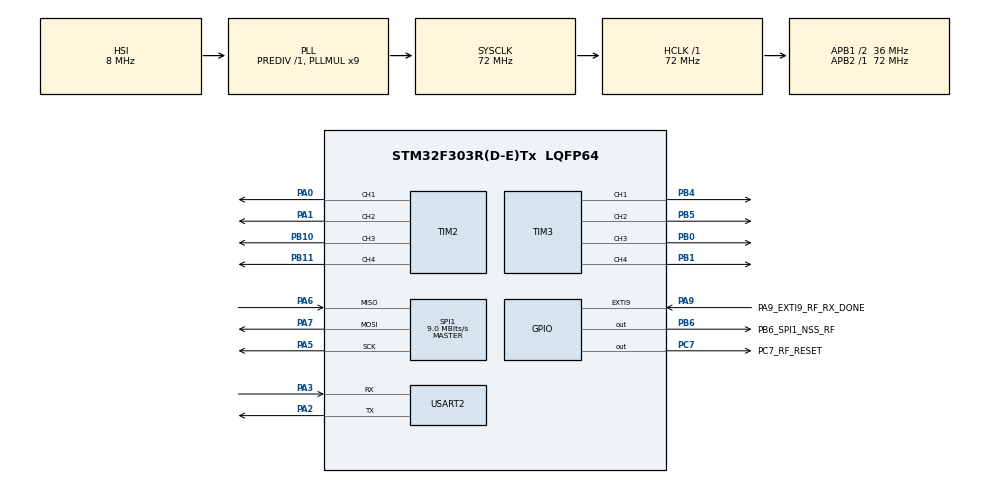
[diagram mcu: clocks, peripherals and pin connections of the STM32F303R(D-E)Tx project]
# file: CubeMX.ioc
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Mcu.Family=STM32F3
Mcu.Name=STM32F303R(D-E)Tx
Mcu.Package=LQFP64
NVIC.PriorityGroup=NVIC_PRIORITYGROUP_4
PA0.Signal=S_TIM2_CH1_ETR
PA1.Signal=S_TIM2_CH2
PA2.Mode=Asynchronous
PA2.Signal=USART2_TX
PA3.Mode=Asynchronous
PA3.Signal=USART2_RX
PA5.Mode=Full_Duplex_Master
PA5.Signal=SPI1_SCK
PA6.Mode=Full_Duplex_Master
PA6.Signal=SPI1_MISO
PA7.Mode=Full_Duplex_Master
PA7.Signal=SPI1_MOSI
PA9.GPIO_Label=PA9_EXTI9_RF_RX_DONE
PA9.Signal=GPXTI9
PB0.Signal=S_TIM3_CH3
PB1.Signal=S_TIM3_CH4
PB10.Signal=S_TIM2_CH3
PB11.Signal=S_TIM2_CH4
PB4.Signal=S_TIM3_CH1
PB5.Signal=S_TIM3_CH2
PB6.GPIO_Label=PB6_SPI1_NSS_RF
PB6.Signal=GPIO_Output
PC7.GPIO_Label=PC7_RF_RESET
PC7.Signal=GPIO_Output
ProjectManager.HeapSize=0x200
ProjectManager.StackSize=0x400
ProjectManager.TargetToolchain=STM32CubeIDE
RCC.AHBFreq_Value=72000000
RCC.APB1CLKDivider=RCC_HCLK_DIV2
RCC.APB1Freq_Value=36000000
RCC.APB1TimFreq_Value=72000000
RCC.APB2Freq_Value=72000000
RCC.APB2TimFreq_Value=72000000
RCC.CortexFreq_Value=72000000
RCC.HCLKFreq_Value=72000000
RCC.HSE_VALUE=8000000
RCC.HSI_VALUE=8000000
RCC.LSE_VALUE=32768
RCC.PLLMUL=RCC_PLL_MUL9
RCC.SYSCLKFreq_VALUE=72000000
RCC.SYSCLKSourceVirtual=RCC_SYSCLKSOURCE_PLLCLK
RCC.USBFreq_Value=72000000
SH.S_TIM2_CH1_ETR.0=TIM2_CH1,PWM Generation1 CH1
SH.S_TIM2_CH2.0=TIM2_CH2,PWM Generation2 CH2
SH.S_TIM2_CH3.0=TIM2_CH3,PWM Generation3 CH3
SH.S_TIM2_CH4.0=TIM2_CH4,PWM Generation4 CH4
SH.S_TIM3_CH1.0=TIM3_CH1,PWM Generation1 CH1
SH.S_TIM3_CH2.0=TIM3_CH2,PWM Generation2 CH2
SH.S_TIM3_CH3.0=TIM3_CH3,PWM Generation3 CH3
SH.S_TIM3_CH4.0=TIM3_CH4,PWM Generation4 CH4
SPI1.BaudRatePrescaler=SPI_BAUDRATEPRESCALER_8
SPI1.CalculateBaudRate=9.0 MBits/s
SPI1.DataSize=SPI_DATASIZE_8BIT
SPI1.Direction=SPI_DIRECTION_2LINES
SPI1.Mode=SPI_MODE_MASTER
SPI1.VirtualType=VM_MASTER
TIM2.Channel-PWM\ Generation1\ CH1=TIM_CHANNEL_1
TIM2.Channel-PWM\ Generation2\ CH2=TIM_CHANNEL_2
TIM2.Channel-PWM\ Generation3\ CH3=TIM_CHANNEL_3
TIM2.Channel-PWM\ Generation4\ CH4=TIM_CHANNEL_4
TIM3.Channel-PWM\ Generation1\ CH1=TIM_CHANNEL_1
TIM3.Channel-PWM\ Generation2\ CH2=TIM_CHANNEL_2
TIM3.Channel-PWM\ Generation3\ CH3=TIM_CHANNEL_3
TIM3.Channel-PWM\ Generation4\ CH4=TIM_CHANNEL_4
USART2.VirtualMode-Asynchronous=VM_ASYNC
VP_TIM2_VS_ClockSourceINT.Mode=Internal
VP_TIM3_VS_ClockSourceINT.Mode=Internal
board=custom

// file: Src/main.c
/* USER CODE BEGIN Header */
/**
  ******************************************************************************
  * @file           : main.c
  * @brief          : Main program body
  ******************************************************************************
  * @attention
  *
  * <h2><center>&copy; Copyright (c) 2019 STMicroelectronics.
  * All rights reserved.</center></h2>
  *
  * This software component is licensed by ST under BSD 3-Clause license,
  * the "License"; You may not use this file except in compliance with the
  * License. You may obtain a copy of the License at:
  *                        opensource.org/licenses/BSD-3-Clause
  *
  ******************************************************************************
  */
/* USER CODE END Header */
#include "main.h"

 SPI_HandleTypeDef hspi1;

TIM_HandleTypeDef htim2;
TIM_HandleTypeDef htim3;

UART_HandleTypeDef huart2;

void SystemClock_Config(void);
static void MX_GPIO_Init(void);
static void MX_TIM2_Init(void);
static void MX_TIM3_Init(void);
static void MX_USART2_UART_Init(void);
static void MX_SPI1_Init(void);

int main(void)
{

  /* MCU Configuration--------------------------------------------------------*/

  /* Reset of all peripherals, Initializes the Flash interface and the Systick. */
  HAL_Init();

  /* Configure the system clock */
  SystemClock_Config();

  /* Initialize all configured peripherals */
  MX_GPIO_Init();
  MX_TIM2_Init();
  MX_TIM3_Init();
  MX_USART2_UART_Init();
  MX_SPI1_Init();
  /* USER CODE BEGIN 2 */

  char *msg = "Fablab AUDO!\n\r";

  HAL_UART_Transmit(&huart2, (uint8_t*)msg, strlen(msg), 0xFFFF);

  char buffer[100];

  comm_init();
  pwm_init();
  systick_init();

  HAL_SYSTICK_CLKSourceConfig(SYSTICK_CLKSOURCE_HCLK);
  HAL_SYSTICK_Config(HAL_RCC_GetHCLKFreq()/1000);
  HAL_NVIC_SetPriority(SysTick_IRQn, 8, 0);

  /* USER CODE END 2 */

  /* Infinite loop */
  while (1)
  {

  }
}

void SystemClock_Config(void)
{
  RCC_OscInitTypeDef RCC_OscInitStruct = {0};
  RCC_ClkInitTypeDef RCC_ClkInitStruct = {0};
  RCC_PeriphCLKInitTypeDef PeriphClkInit = {0};

  /** Initializes the RCC Oscillators according to the specified parameters
  * in the RCC_OscInitTypeDef structure.
  */
  RCC_OscInitStruct.OscillatorType = RCC_OSCILLATORTYPE_HSI;
  RCC_OscInitStruct.HSIState = RCC_HSI_ON;
  RCC_OscInitStruct.HSICalibrationValue = RCC_HSICALIBRATION_DEFAULT;
  RCC_OscInitStruct.PLL.PLLState = RCC_PLL_ON;
  RCC_OscInitStruct.PLL.PLLSource = RCC_PLLSOURCE_HSI;
  RCC_OscInitStruct.PLL.PLLMUL = RCC_PLL_MUL9;
  RCC_OscInitStruct.PLL.PREDIV = RCC_PREDIV_DIV1;
  if (HAL_RCC_OscConfig(&RCC_OscInitStruct) != HAL_OK)
  {
    Error_Handler();
  }

  /** Initializes the CPU, AHB and APB buses clocks
  */
  RCC_ClkInitStruct.ClockType = RCC_CLOCKTYPE_HCLK|RCC_CLOCKTYPE_SYSCLK
                              |RCC_CLOCKTYPE_PCLK1|RCC_CLOCKTYPE_PCLK2;
  RCC_ClkInitStruct.SYSCLKSource = RCC_SYSCLKSOURCE_PLLCLK;
  RCC_ClkInitStruct.AHBCLKDivider = RCC_SYSCLK_DIV1;
  RCC_ClkInitStruct.APB1CLKDivider = RCC_HCLK_DIV2;
  RCC_ClkInitStruct.APB2CLKDivider = RCC_HCLK_DIV1;

  if (HAL_RCC_ClockConfig(&RCC_ClkInitStruct, FLASH_LATENCY_2) != HAL_OK)
  {
    Error_Handler();
  }
  PeriphClkInit.PeriphClockSelection = RCC_PERIPHCLK_USART2|RCC_PERIPHCLK_TIM2
                              |RCC_PERIPHCLK_TIM34;
  PeriphClkInit.Usart2ClockSelection = RCC_USART2CLKSOURCE_PCLK1;
  PeriphClkInit.Tim2ClockSelection = RCC_TIM2CLK_HCLK;
  PeriphClkInit.Tim34ClockSelection = RCC_TIM34CLK_HCLK;
  if (HAL_RCCEx_PeriphCLKConfig(&PeriphClkInit) != HAL_OK)
  {
    Error_Handler();
  }
}

static void MX_SPI1_Init(void)
{

  /* SPI1 parameter configuration*/
  hspi1.Instance = SPI1;
  hspi1.Init.Mode = SPI_MODE_MASTER;
  hspi1.Init.Direction = SPI_DIRECTION_2LINES;
  hspi1.Init.DataSize = SPI_DATASIZE_8BIT;
  hspi1.Init.CLKPolarity = SPI_POLARITY_LOW;
  hspi1.Init.CLKPhase = SPI_PHASE_1EDGE;
  hspi1.Init.NSS = SPI_NSS_SOFT;
  hspi1.Init.BaudRatePrescaler = SPI_BAUDRATEPRESCALER_8;
  hspi1.Init.FirstBit = SPI_FIRSTBIT_MSB;
  hspi1.Init.TIMode = SPI_TIMODE_DISABLE;
  hspi1.Init.CRCCalculation = SPI_CRCCALCULATION_DISABLE;
  hspi1.Init.CRCPolynomial = 7;
  hspi1.Init.CRCLength = SPI_CRC_LENGTH_DATASIZE;
  hspi1.Init.NSSPMode = SPI_NSS_PULSE_ENABLE;
  if (HAL_SPI_Init(&hspi1) != HAL_OK)
  {
    Error_Handler();
  }

}

static void MX_TIM2_Init(void)
{

  TIM_ClockConfigTypeDef sClockSourceConfig = {0};
  TIM_MasterConfigTypeDef sMasterConfig = {0};
  TIM_OC_InitTypeDef sConfigOC = {0};

  htim2.Instance = TIM2;
  htim2.Init.Prescaler = 0;
  htim2.Init.CounterMode = TIM_COUNTERMODE_UP;
  htim2.Init.Period = 4294967295;
  htim2.Init.ClockDivision = TIM_CLOCKDIVISION_DIV1;
  htim2.Init.AutoReloadPreload = TIM_AUTORELOAD_PRELOAD_DISABLE;
  if (HAL_TIM_Base_Init(&htim2) != HAL_OK)
  {
    Error_Handler();
  }
  sClockSourceConfig.ClockSource = TIM_CLOCKSOURCE_INTERNAL;
  if (HAL_TIM_ConfigClockSource(&htim2, &sClockSourceConfig) != HAL_OK)
  {
    Error_Handler();
  }
  if (HAL_TIM_PWM_Init(&htim2) != HAL_OK)
  {
    Error_Handler();
  }
  sMasterConfig.MasterOutputTrigger = TIM_TRGO_RESET;
  sMasterConfig.MasterSlaveMode = TIM_MASTERSLAVEMODE_DISABLE;
  if (HAL_TIMEx_MasterConfigSynchronization(&htim2, &sMasterConfig) != HAL_OK)
  {
    Error_Handler();
  }
  sConfigOC.OCMode = TIM_OCMODE_PWM1;
  sConfigOC.Pulse = 0;
  sConfigOC.OCPolarity = TIM_OCPOLARITY_HIGH;
  sConfigOC.OCFastMode = TIM_OCFAST_DISABLE;
  if (HAL_TIM_PWM_ConfigChannel(&htim2, &sConfigOC, TIM_CHANNEL_1) != HAL_OK)
  {
    Error_Handler();
  }
  if (HAL_TIM_PWM_ConfigChannel(&htim2, &sConfigOC, TIM_CHANNEL_2) != HAL_OK)
  {
    Error_Handler();
  }
  if (HAL_TIM_PWM_ConfigChannel(&htim2, &sConfigOC, TIM_CHANNEL_3) != HAL_OK)
  {
    Error_Handler();
  }
  if (HAL_TIM_PWM_ConfigChannel(&htim2, &sConfigOC, TIM_CHANNEL_4) != HAL_OK)
  {
    Error_Handler();
  }
  HAL_TIM_MspPostInit(&htim2);

}

static void MX_TIM3_Init(void)
{

  TIM_ClockConfigTypeDef sClockSourceConfig = {0};
  TIM_MasterConfigTypeDef sMasterConfig = {0};
  TIM_OC_InitTypeDef sConfigOC = {0};

  htim3.Instance = TIM3;
  htim3.Init.Prescaler = 0;
  htim3.Init.CounterMode = TIM_COUNTERMODE_UP;
  htim3.Init.Period = 65535;
  htim3.Init.ClockDivision = TIM_CLOCKDIVISION_DIV1;
  htim3.Init.AutoReloadPreload = TIM_AUTORELOAD_PRELOAD_DISABLE;
  if (HAL_TIM_Base_Init(&htim3) != HAL_OK)
  {
    Error_Handler();
  }
  sClockSourceConfig.ClockSource = TIM_CLOCKSOURCE_INTERNAL;
  if (HAL_TIM_ConfigClockSource(&htim3, &sClockSourceConfig) != HAL_OK)
  {
    Error_Handler();
  }
  if (HAL_TIM_PWM_Init(&htim3) != HAL_OK)
  {
    Error_Handler();
  }
  sMasterConfig.MasterOutputTrigger = TIM_TRGO_RESET;
  sMasterConfig.MasterSlaveMode = TIM_MASTERSLAVEMODE_DISABLE;
  if (HAL_TIMEx_MasterConfigSynchronization(&htim3, &sMasterConfig) != HAL_OK)
  {
    Error_Handler();
  }
  sConfigOC.OCMode = TIM_OCMODE_PWM1;
  sConfigOC.Pulse = 0;
  sConfigOC.OCPolarity = TIM_OCPOLARITY_HIGH;
  sConfigOC.OCFastMode = TIM_OCFAST_DISABLE;
  if (HAL_TIM_PWM_ConfigChannel(&htim3, &sConfigOC, TIM_CHANNEL_1) != HAL_OK)
  {
    Error_Handler();
  }
  if (HAL_TIM_PWM_ConfigChannel(&htim3, &sConfigOC, TIM_CHANNEL_2) != HAL_OK)
  {
    Error_Handler();
  }
  if (HAL_TIM_PWM_ConfigChannel(&htim3, &sConfigOC, TIM_CHANNEL_3) != HAL_OK)
  {
    Error_Handler();
  }
  if (HAL_TIM_PWM_ConfigChannel(&htim3, &sConfigOC, TIM_CHANNEL_4) != HAL_OK)
  {
    Error_Handler();
  }
  /* USER CODE BEGIN TIM3_Init 2 */
  if (HAL_TIM_PWM_ConfigChannel(&htim3, &sConfigOC, TIM_CHANNEL_2) != HAL_OK)
  {
    Error_Handler();
  }
  if (HAL_TIM_PWM_ConfigChannel(&htim3, &sConfigOC, TIM_CHANNEL_3) != HAL_OK)
    {
      Error_Handler();
    }
  if (HAL_TIM_PWM_ConfigChannel(&htim3, &sConfigOC, TIM_CHANNEL_4) != HAL_OK)
    {
      Error_Handler();
    }
  /* USER CODE END TIM3_Init 2 */
  HAL_TIM_MspPostInit(&htim3);

}

static void MX_USART2_UART_Init(void)
{

  huart2.Instance = USART2;
  huart2.Init.BaudRate = 38400;
  huart2.Init.WordLength = UART_WORDLENGTH_8B;
  huart2.Init.StopBits = UART_STOPBITS_1;
  huart2.Init.Parity = UART_PARITY_NONE;
  huart2.Init.Mode = UART_MODE_TX_RX;
  huart2.Init.HwFlowCtl = UART_HWCONTROL_NONE;
  huart2.Init.OverSampling = UART_OVERSAMPLING_16;
  huart2.Init.OneBitSampling = UART_ONE_BIT_SAMPLE_DISABLE;
  huart2.AdvancedInit.AdvFeatureInit = UART_ADVFEATURE_NO_INIT;
  if (HAL_UART_Init(&huart2) != HAL_OK)
  {
    Error_Handler();
  }

}

static void MX_GPIO_Init(void)
{
  GPIO_InitTypeDef GPIO_InitStruct = {0};

  /* GPIO Ports Clock Enable */
  __HAL_RCC_GPIOA_CLK_ENABLE();
  __HAL_RCC_GPIOB_CLK_ENABLE();
  __HAL_RCC_GPIOC_CLK_ENABLE();

  /*Configure GPIO pin Output Level */
  HAL_GPIO_WritePin(PC7_RF_RESET_GPIO_Port, PC7_RF_RESET_Pin, GPIO_PIN_RESET);

  /*Configure GPIO pin Output Level */
  HAL_GPIO_WritePin(PB6_SPI1_NSS_RF_GPIO_Port, PB6_SPI1_NSS_RF_Pin, GPIO_PIN_RESET);

  /*Configure GPIO pin : PC7_RF_RESET_Pin */
  GPIO_InitStruct.Pin = PC7_RF_RESET_Pin;
  GPIO_InitStruct.Mode = GPIO_MODE_OUTPUT_PP;
  GPIO_InitStruct.Pull = GPIO_NOPULL;
  GPIO_InitStruct.Speed = GPIO_SPEED_FREQ_LOW;
  HAL_GPIO_Init(PC7_RF_RESET_GPIO_Port, &GPIO_InitStruct);

  /*Configure GPIO pin : PA9_EXTI9_RF_RX_DONE_Pin */
  GPIO_InitStruct.Pin = PA9_EXTI9_RF_RX_DONE_Pin;
  GPIO_InitStruct.Mode = GPIO_MODE_IT_RISING;
  GPIO_InitStruct.Pull = GPIO_NOPULL;
  HAL_GPIO_Init(PA9_EXTI9_RF_RX_DONE_GPIO_Port, &GPIO_InitStruct);

  /*Configure GPIO pin : PB6_SPI1_NSS_RF_Pin */
  GPIO_InitStruct.Pin = PB6_SPI1_NSS_RF_Pin;
  GPIO_InitStruct.Mode = GPIO_MODE_OUTPUT_PP;
  GPIO_InitStruct.Pull = GPIO_NOPULL;
  GPIO_InitStruct.Speed = GPIO_SPEED_FREQ_LOW;
  HAL_GPIO_Init(PB6_SPI1_NSS_RF_GPIO_Port, &GPIO_InitStruct);

}

void Error_Handler(void)
{
}
